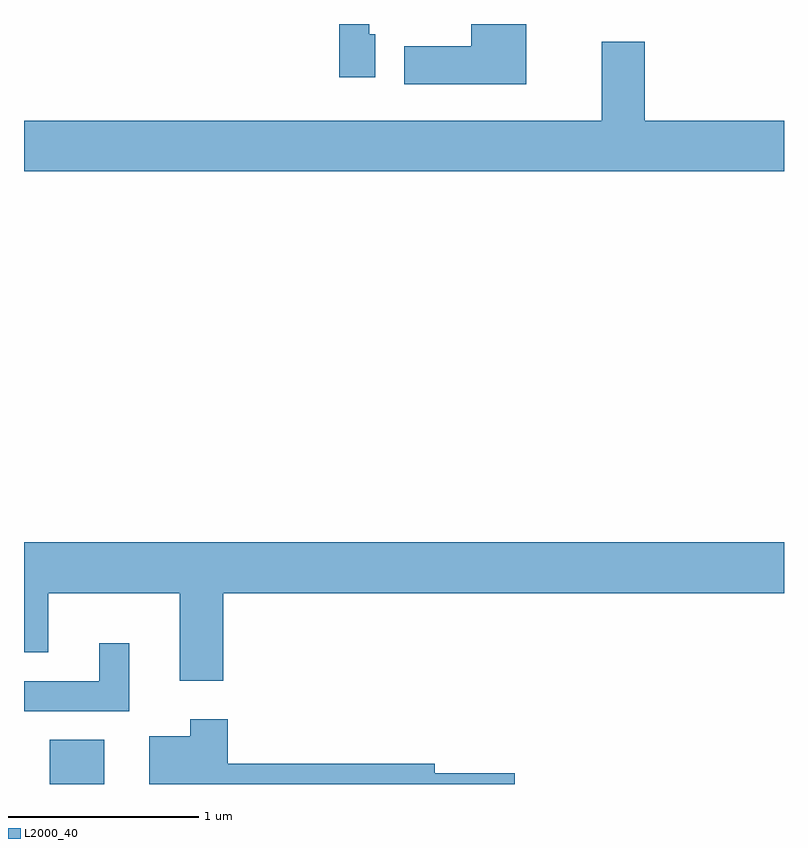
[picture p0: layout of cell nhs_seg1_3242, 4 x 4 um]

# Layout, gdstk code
import gdstk
lib = gdstk.Library(unit=1e-6, precision=1e-09)
def R(c, l, rs):  # rectangles x0, y0, x1, y1
    for r in rs: c.add(gdstk.rectangle(r[:2], r[2:], *l))
def P(c, l, *ps):  # polygons
    for p in ps: c.add(gdstk.Polygon(p, *l))
L2000_40 = (2000, 40)

nhs_seg1_3242 = lib.new_cell('nhs_seg1_3242')
R(nhs_seg1_3242, L2000_40, [(283.746,869.712,284.034,869.944)])
P(nhs_seg1_3242, L2000_40, [(285.459,873.659),(285.429,873.659),(285.429,873.712),(285.271,873.712),(285.271,873.431),(285.459,873.431)],
  [(286.254,873.712),(285.966,873.712),(285.966,873.594),(285.611,873.594),(285.611,873.396),(286.254,873.396)],
  [(287.611,873.204),(286.879,873.204),(286.879,873.619),(286.651,873.619),(286.651,873.204),(283.611,873.204),(283.611,872.936),(287.611,872.936)],
  [(284.659,870.716),(287.611,870.716),(287.611,870.984),(283.611,870.984),(283.611,870.406),(283.739,870.406),(283.739,870.716),(284.431,870.716),(284.431,870.256),(284.659,870.256)],
  [(284.164,870.453),(284.006,870.453),(284.006,870.254),(283.611,870.254),(283.611,870.096),(284.164,870.096)],
  [(286.194,869.769),(285.774,869.769),(285.774,869.819),(284.684,869.819),(284.684,870.054),(284.486,870.054),(284.486,869.964),(284.271,869.964),(284.271,869.712),(286.194,869.712)])

lib.write_gds('nhs_seg1_3242.gds')
